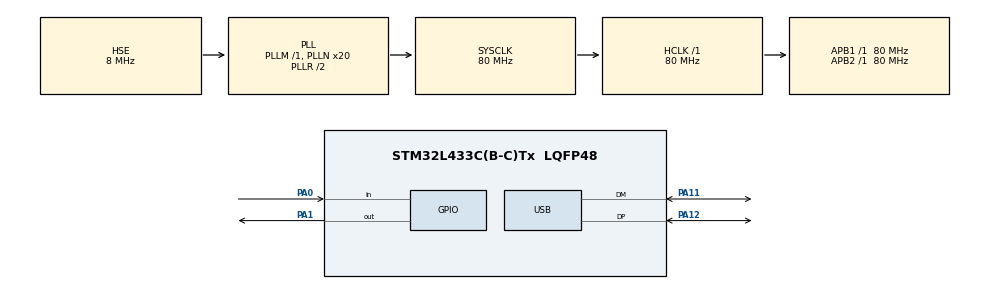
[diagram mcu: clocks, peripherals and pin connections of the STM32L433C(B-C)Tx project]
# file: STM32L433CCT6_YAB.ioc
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Mcu.Family=STM32L4
Mcu.Name=STM32L433C(B-C)Tx
Mcu.Package=LQFP48
NVIC.PriorityGroup=NVIC_PRIORITYGROUP_4
NVIC.USB_IRQn=true\:0\:0\:false\:false\:true\:false\:true
PA0.GPIO_PuPd=GPIO_PULLUP
PA0.Signal=GPIO_Input
PA1.GPIO_PuPd=GPIO_PULLUP
PA1.Signal=GPIO_Output
PA11.Mode=Device
PA11.Signal=USB_DM
PA12.Mode=Device
PA12.Signal=USB_DP
PA13\ (JTMS-SWDIO).Mode=Serial_Wire
PA13\ (JTMS-SWDIO).Signal=SYS_JTMS-SWDIO
PA14\ (JTCK-SWCLK).Mode=Serial_Wire
PA14\ (JTCK-SWCLK).Signal=SYS_JTCK-SWCLK
PH0-OSC_IN\ (PH0).Mode=HSE-External-Oscillator
PH0-OSC_IN\ (PH0).Signal=RCC_OSC_IN
PH1-OSC_OUT\ (PH1).Mode=HSE-External-Oscillator
PH1-OSC_OUT\ (PH1).Signal=RCC_OSC_OUT
ProjectManager.HeapSize=0x2000
ProjectManager.StackSize=0x800
ProjectManager.TargetToolchain=MDK-ARM V5.27
RCC.ADCFreq_Value=48000000
RCC.AHBFreq_Value=80000000
RCC.APB1Freq_Value=80000000
RCC.APB1TimFreq_Value=80000000
RCC.APB2Freq_Value=80000000
RCC.APB2TimFreq_Value=80000000
RCC.CortexFreq_Value=80000000
RCC.HCLKFreq_Value=80000000
RCC.HSE_VALUE=8000000
RCC.HSI48_VALUE=48000000
RCC.HSI_VALUE=16000000
RCC.MSIAutoCalibration=DISABLED
RCC.MSI_VALUE=4000000
RCC.PLLN=20
RCC.PLLSAI1N=12
RCC.PLLSourceVirtual=RCC_PLLSOURCE_HSE
RCC.SYSCLKFreq_VALUE=80000000
RCC.SYSCLKSource=RCC_SYSCLKSOURCE_PLLCLK
RCC.USBFreq_Value=48000000
RCC.VCOOutputFreq_Value=160000000
USB_DEVICE.CLASS_NAME_FS=MSC
USB_DEVICE.PID_MSC_FS=0x5749
USB_DEVICE.VirtualMode=Msc
USB_DEVICE.VirtualModeFS=Msc_FS
VP_USB_DEVICE_VS_USB_DEVICE_MSC_FS.Mode=MSC_FS
board=custom

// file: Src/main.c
/* USER CODE BEGIN Header */
/**
  ******************************************************************************
  * @file           : main.c
  * @brief          : Main program body
  ******************************************************************************
  * @attention
  *
  * <h2><center>&copy; Copyright (c) 2020 STMicroelectronics.
  * All rights reserved.</center></h2>
  *
  * This software component is licensed by ST under Ultimate Liberty license
  * SLA0044, the "License"; You may not use this file except in compliance with
  * the License. You may obtain a copy of the License at:
  *                             www.st.com/SLA0044
  *
  ******************************************************************************
  */
/* USER CODE END Header */
#include "main.h"
#include "usb_device.h"

/* USER CODE BEGIN Includes */
#include <stdint.h>
#include <stdbool.h>
#include "YAB_L433_config.h"

/* USER CODE END Includes */

/* USER CODE BEGIN PV */
#if LED_ENABLE
volatile uint8_t LED_On_Time = LED_SLOW_BLINK;
#endif //#if LED_ENABLE

/* USER CODE END PV */

void SystemClock_Config(void);
static void MX_GPIO_Init(void);

/* USER CODE BEGIN 0 */
bool is_appcode_exist()
{
  uint32_t *mem = (uint32_t*)APP_ADDR;

  if ((mem[0] == 0x00000000 || mem[0] == 0xFFFFFFFF) && \
      (mem[1] == 0x00000000 || mem[1] == 0xFFFFFFFF) && \
      (mem[2] == 0x00000000 || mem[2] == 0xFFFFFFFF) && \
      (mem[3] == 0x00000000 || mem[3] == 0xFFFFFFFF))
  {
    return false;
  }
  else
  {
    return true;
  }
}

void jmp_to_appcode()
{
  /* Function pointer to the address of the user application. */
  uint32_t jump_addr = *((__IO uint32_t*)(APP_ADDR+4u));
  HAL_DeInit();
  /* Change the main stack pointer. */
  __set_MSP(*(__IO uint32_t*)APP_ADDR);
  SCB->VTOR = APP_ADDR;

  ((void (*) (void)) (jump_addr)) ();
}

bool is_button_down()
{
  if (HAL_GPIO_ReadPin(BTN_GPIO_PORT, BTN_GPIO_PIN) == GPIO_PIN_RESET)
  {
    HAL_Delay(200);
    return (HAL_GPIO_ReadPin(BTN_GPIO_PORT, BTN_GPIO_PIN) == GPIO_PIN_RESET);
  }
  return false;
}

/* USER CODE END 0 */

int main(void)
{

  /* MCU Configuration--------------------------------------------------------*/

  /* Reset of all peripherals, Initializes the Flash interface and the Systick. */
  HAL_Init();

  /* Configure the system clock */
  SystemClock_Config();

  /* Initialize all configured peripherals */
  MX_GPIO_Init();
  MX_USB_DEVICE_Init();
  /* USER CODE BEGIN 2 */

  if(!is_appcode_exist() || is_button_down())
  {
    MX_USB_DEVICE_Init();

    while(1)
    {
#if LED_ENABLE
      switch(LED_On_Time) //LED handle
      {
        case LED_OFF_NOBLINK:
          LED_OFF;
          break;

        case LED_SLOW_BLINK:
          LED_ON;
          HAL_Delay(LED_On_Time);
          LED_OFF;
          HAL_Delay(LED_On_Time*3);
          break;

        case LED_ON_NOBLINK:
          LED_ON;
          break;
      }
#endif //#if LED_ENABLE
    }
  }
  else
  {
    jmp_to_appcode();
  }

  /* USER CODE END 2 */

  /* Infinite loop */
  while (1)
  {

  }
}

void SystemClock_Config(void)
{
  RCC_OscInitTypeDef RCC_OscInitStruct = {0};
  RCC_ClkInitTypeDef RCC_ClkInitStruct = {0};
  RCC_PeriphCLKInitTypeDef PeriphClkInit = {0};

  /** Initializes the RCC Oscillators according to the specified parameters
  * in the RCC_OscInitTypeDef structure.
  */
  RCC_OscInitStruct.OscillatorType = RCC_OSCILLATORTYPE_HSE;
  RCC_OscInitStruct.HSEState = RCC_HSE_ON;
  RCC_OscInitStruct.PLL.PLLState = RCC_PLL_ON;
  RCC_OscInitStruct.PLL.PLLSource = RCC_PLLSOURCE_HSE;
  RCC_OscInitStruct.PLL.PLLM = 1;
  RCC_OscInitStruct.PLL.PLLN = 20;
  RCC_OscInitStruct.PLL.PLLP = RCC_PLLP_DIV7;
  RCC_OscInitStruct.PLL.PLLQ = RCC_PLLQ_DIV2;
  RCC_OscInitStruct.PLL.PLLR = RCC_PLLR_DIV2;
  if (HAL_RCC_OscConfig(&RCC_OscInitStruct) != HAL_OK)
  {
    Error_Handler();
  }
  /** Initializes the CPU, AHB and APB buses clocks
  */
  RCC_ClkInitStruct.ClockType = RCC_CLOCKTYPE_HCLK|RCC_CLOCKTYPE_SYSCLK
                              |RCC_CLOCKTYPE_PCLK1|RCC_CLOCKTYPE_PCLK2;
  RCC_ClkInitStruct.SYSCLKSource = RCC_SYSCLKSOURCE_PLLCLK;
  RCC_ClkInitStruct.AHBCLKDivider = RCC_SYSCLK_DIV1;
  RCC_ClkInitStruct.APB1CLKDivider = RCC_HCLK_DIV1;
  RCC_ClkInitStruct.APB2CLKDivider = RCC_HCLK_DIV1;

  if (HAL_RCC_ClockConfig(&RCC_ClkInitStruct, FLASH_LATENCY_4) != HAL_OK)
  {
    Error_Handler();
  }
  PeriphClkInit.PeriphClockSelection = RCC_PERIPHCLK_USB;
  PeriphClkInit.UsbClockSelection = RCC_USBCLKSOURCE_PLLSAI1;
  PeriphClkInit.PLLSAI1.PLLSAI1Source = RCC_PLLSOURCE_HSE;
  PeriphClkInit.PLLSAI1.PLLSAI1M = 1;
  PeriphClkInit.PLLSAI1.PLLSAI1N = 12;
  PeriphClkInit.PLLSAI1.PLLSAI1P = RCC_PLLP_DIV7;
  PeriphClkInit.PLLSAI1.PLLSAI1Q = RCC_PLLQ_DIV2;
  PeriphClkInit.PLLSAI1.PLLSAI1R = RCC_PLLR_DIV2;
  PeriphClkInit.PLLSAI1.PLLSAI1ClockOut = RCC_PLLSAI1_48M2CLK;
  if (HAL_RCCEx_PeriphCLKConfig(&PeriphClkInit) != HAL_OK)
  {
    Error_Handler();
  }
  /** Configure the main internal regulator output voltage
  */
  if (HAL_PWREx_ControlVoltageScaling(PWR_REGULATOR_VOLTAGE_SCALE1) != HAL_OK)
  {
    Error_Handler();
  }
}

static void MX_GPIO_Init(void)
{
  GPIO_InitTypeDef GPIO_InitStruct = {0};

  /* GPIO Ports Clock Enable */
  __HAL_RCC_GPIOH_CLK_ENABLE();
  __HAL_RCC_GPIOA_CLK_ENABLE();

  /*Configure GPIO pin Output Level */
  HAL_GPIO_WritePin(GPIOA, GPIO_PIN_1, GPIO_PIN_RESET);

  /*Configure GPIO pin : PA0 */
  GPIO_InitStruct.Pin = GPIO_PIN_0;
  GPIO_InitStruct.Mode = GPIO_MODE_INPUT;
  GPIO_InitStruct.Pull = GPIO_PULLUP;
  HAL_GPIO_Init(GPIOA, &GPIO_InitStruct);

  /*Configure GPIO pin : PA1 */
  GPIO_InitStruct.Pin = GPIO_PIN_1;
  GPIO_InitStruct.Mode = GPIO_MODE_OUTPUT_PP;
  GPIO_InitStruct.Pull = GPIO_PULLUP;
  GPIO_InitStruct.Speed = GPIO_SPEED_FREQ_LOW;
  HAL_GPIO_Init(GPIOA, &GPIO_InitStruct);

}

void Error_Handler(void)
{
  __disable_irq();
  while (1)
  {
  }
}

/************************ (C) COPYRIGHT STMicroelectronics *****END OF FILE****/
